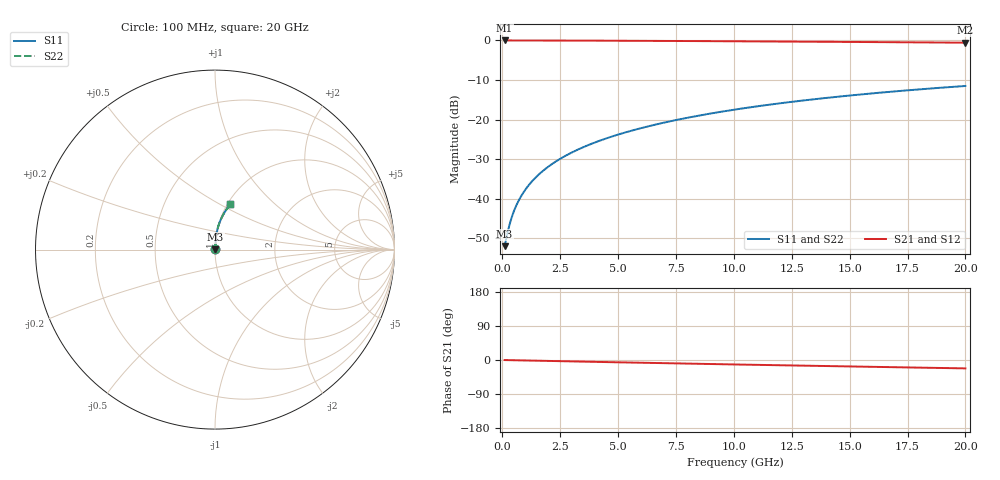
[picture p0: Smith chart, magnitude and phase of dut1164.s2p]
! Touchstone file exported from HFSS 2024.1.0
!  File:  C:/UserFiles/LocalFiles/RDL_TSV_Batchsim/temp_RDL_bottom_1164_1780056595.aedt
!  Generated:  08:12:49 PM May 29, 2026
!  Design:  RDL_bottom
!  Project:  temp_RDL_bottom_1164_1780056595
!  Setup:  Setup1
!  Solution:  Sweep
! Variables:
!  dtsv = 10.80580581um
!  hbump = 3um
!  htsv = 98.93um
!  ldown = 241.33um
!  lrdl = 100um
!  p = 40
!  p1 = 55.41um
!  rhole = 1um
!  t = 450um
!  tdown = 2.46um
!  trdl = 3.915915916um
!  wdown = 18.96um
!  wrdl = 20um
# GHz S MA R 50.000000
! Terminal data exported
! Port[1] = RDL1_T1
! Port[2] = RDL1_T2
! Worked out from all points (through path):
!   200 points, 100 MHz to 20 GHz, reference 50 ohm
!   highest |S21| = -0.02 dB at 100 MHz (marker M1); lowest = -0.6 dB at 20 GHz (marker M2)
!   group delay of S21, straight-line fit = 3.06 ps
!   lowest |S11| = -52.0 dB at 100 MHz (marker M3), VSWR 1.01, Z = 50.2 + j0.135 ohm
!   |S11| at or under -10 dB: start of sweep to end of sweep
!   |S22| runs from -52.0 to -11.5 dB; largest |S21 - S12| = 2.6e-15
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0.1  0.002517 32.2  0.9979 -0.1  0.9979 -0.1  0.002517 32.2
! Gamma 0 0 0 0
! Port Impedance 50 0 50 0
0.2  0.003439 50.9  0.9978 -0.3  0.9978 -0.3  0.003439 50.9
0.3  0.004557 60.8  0.9978 -0.4  0.9978 -0.4  0.004557 60.8
0.4  0.005741 66.6  0.9977 -0.5  0.9977 -0.5  0.005741 66.6
0.5  0.006948 70.3  0.9976 -0.6  0.9976 -0.6  0.006948 70.3
0.6  0.008165 72.9  0.9975 -0.8  0.9975 -0.8  0.008165 72.9
0.8  0.01061 76.5  0.9973 -1.0  0.9973 -1.0  0.01061 76.5
1.1  0.01431 79.5  0.9971 -1.4  0.9971 -1.4  0.01431 79.6
1.5  0.01929 81.9  0.9967 -1.9  0.9967 -1.9  0.01929 81.9
1.8  0.02306 83.0  0.9963 -2.2  0.9963 -2.2  0.02306 83.0
2.1  0.02685 83.7  0.996 -2.6  0.996 -2.6  0.02685 83.7
2.7  0.03449 84.7  0.9951 -3.3  0.9951 -3.3  0.03449 84.7
3.5  0.04482 85.2  0.9936 -4.3  0.9936 -4.3  0.04482 85.2
4.2  0.05398 85.4  0.9921 -5.1  0.9921 -5.1  0.05398 85.4
5  0.06459 85.3  0.9901 -6.1  0.9901 -6.1  0.06459 85.3
5.9  0.07669 85.0  0.9877 -7.1  0.9877 -7.1  0.07669 85.0
6.8  0.08893 84.5  0.985 -8.2  0.985 -8.2  0.08894 84.5
8.4  0.1109 83.3  0.9799 -10.0  0.9799 -10.0  0.1109 83.3
10.1  0.1344 81.8  0.9742 -11.8  0.9742 -11.8  0.1344 81.8
13.4  0.1797 78.4  0.9621 -15.4  0.9621 -15.4  0.1797 78.4
16.7  0.2236 74.8  0.9492 -18.8  0.9492 -18.8  0.2236 74.8
20  0.2657 71.3  0.9355 -22.1  0.9355 -22.1  0.2657 71.3
